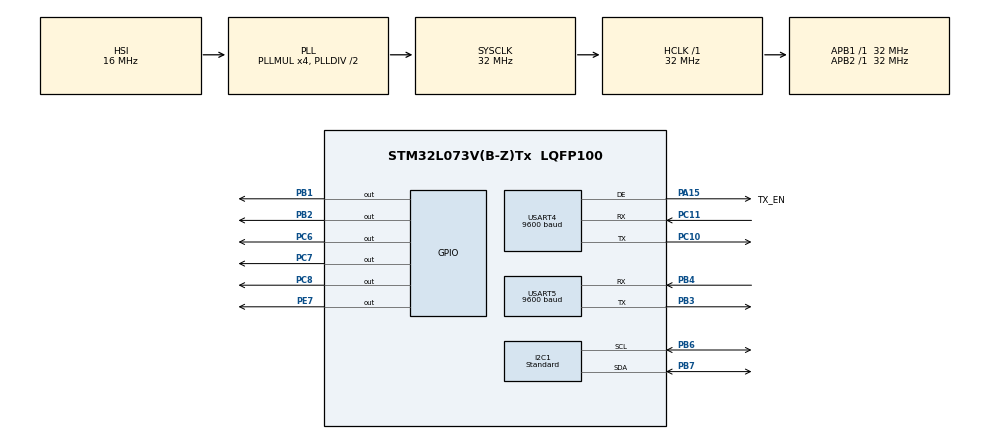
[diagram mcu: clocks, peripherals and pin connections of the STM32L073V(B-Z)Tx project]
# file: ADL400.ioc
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I2C1.Analog_Filter=I2C_ANALOGFILTER_ENABLE
I2C1.I2C_Speed_Mode=I2C_Standard
I2C1.Timing=0x00707CBB
Mcu.Family=STM32L0
Mcu.Name=STM32L073V(B-Z)Tx
Mcu.Package=LQFP100
NVIC.USART4_5_IRQn=true\:0\:0\:false\:false\:true\:true\:true\:true
PA13.Mode=Serial_Wire
PA13.Signal=SYS_SWDIO
PA14.Mode=Serial_Wire
PA14.Signal=SYS_SWCLK
PA15.GPIO_Label=TX_EN
PA15.Mode=Hardware Flow Control (RS485)
PA15.Signal=USART4_DE
PB1.Signal=GPIO_Output
PB2.Signal=GPIO_Output
PB3.Mode=Asynchronous
PB3.Signal=USART5_TX
PB4.Mode=Asynchronous
PB4.Signal=USART5_RX
PB6.Mode=I2C
PB6.Signal=I2C1_SCL
PB7.Mode=I2C
PB7.Signal=I2C1_SDA
PC10.Mode=Asynchronous
PC10.Signal=USART4_TX
PC11.Mode=Asynchronous
PC11.Signal=USART4_RX
PC6.Signal=GPIO_Output
PC7.Signal=GPIO_Output
PC8.Signal=GPIO_Output
PE7.Signal=GPIO_Output
PH0-OSC_IN.Mode=HSE-External-Oscillator
PH0-OSC_IN.Signal=RCC_OSC_IN
PH1-OSC_OUT.Mode=HSE-External-Oscillator
PH1-OSC_OUT.Signal=RCC_OSC_OUT
ProjectManager.HeapSize=0x200
ProjectManager.StackSize=0x400
ProjectManager.TargetToolchain=STM32CubeIDE
RCC.AHBFreq_Value=32000000
RCC.APB1Freq_Value=32000000
RCC.APB1TimFreq_Value=32000000
RCC.APB2Freq_Value=32000000
RCC.APB2TimFreq_Value=32000000
RCC.HCLKFreq_Value=32000000
RCC.HSE_VALUE=8000000
RCC.HSI16_VALUE=16000000
RCC.HSI48_VALUE=48000000
RCC.HSI_VALUE=16000000
RCC.LSE_VALUE=32768
RCC.MSI_VALUE=2097000
RCC.PLLMUL=RCC_PLLMUL_4
RCC.SYSCLKFreq_VALUE=32000000
RCC.SYSCLKSource=RCC_SYSCLKSOURCE_PLLCLK
RCC.VCOOutputFreq_Value=64000000
USART4.BaudRate=9600
USART4.VirtualMode-Asynchronous=VM_ASYNC
USART4.VirtualMode-Hardware\ Flow\ Control\ (RS485)=VM_ASYNC
USART5.BaudRate=9600
USART5.VirtualMode-Asynchronous=VM_ASYNC
board=custom

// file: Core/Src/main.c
/* USER CODE BEGIN Header */
/**
  ******************************************************************************
  * @file           : main.c
  * @brief          : Main program body
  ******************************************************************************
  * @attention
  *
  * Copyright (c) 2023 STMicroelectronics.
  * All rights reserved.
  *
  * This software is licensed under terms that can be found in the LICENSE file
  * in the root directory of this software component.
  * If no LICENSE file comes with this software, it is provided AS-IS.
  *
  ******************************************************************************
  */
/* USER CODE END Header */
#include "I2C_LCD.h"
#include "main.h"

/* USER CODE BEGIN Includes */
#include<stdio.h>
#include "modbus_crc.h"
#include<string.h>
#define SLAVE_ADDRESS_LCD 0x39
/* USER CODE END Includes */

I2C_HandleTypeDef hi2c1;

UART_HandleTypeDef huart4;
UART_HandleTypeDef huart5;

/* USER CODE BEGIN PV */
int _write(int file, char *ptr, int len)
{
	HAL_UART_Transmit(&huart5, (uint8_t *)ptr, len, HAL_MAX_DELAY);
	return len;
}
/* USER CODE END PV */

void SystemClock_Config(void);
static void MX_GPIO_Init(void);
static void MX_USART4_UART_Init(void);
static void MX_USART5_UART_Init(void);
static void MX_I2C1_Init(void);

/* USER CODE BEGIN 0 */

uint8_t RxData[64];
uint8_t TxData[8];
uint16_t Data[16];
char buffer[40];

void sendData (uint8_t *data)
{
	HAL_GPIO_WritePin(TX_EN_GPIO_Port, TX_EN_Pin, GPIO_PIN_SET);  // enable the transmission
	HAL_UART_Transmit(&huart4, data, 8, 1000);
	HAL_GPIO_WritePin(TX_EN_GPIO_Port,TX_EN_Pin , GPIO_PIN_RESET);  // stop the transmission

}

void HAL_UARTEx_RxEventCallback(UART_HandleTypeDef *huart, uint16_t Size)
{
	Data[0] = RxData[3]<<8 | RxData[4];
	Data[1] = RxData[5]<<8 | RxData[6];
	Data[2] = RxData[7]<<8 | RxData[8];
	Data[3] = RxData[9]<<8 | RxData[10];
	Data[4] = RxData[11]<<8 | RxData[12];
	Data[5] = RxData[13]<<8 | RxData[14];
	Data[6] = RxData[15]<<8 | RxData[16];
	Data[7] = RxData[17]<<8 | RxData[18];
	Data[8] = RxData[19]<<8 | RxData[20];
	Data[9] = RxData[21]<<8 | RxData[22];
	Data[10] = RxData[23]<<8 | RxData[24];
	Data[11] = RxData[25]<<8 | RxData[26];
	Data[12] = RxData[27]<<8 | RxData[28];
	Data[13] = RxData[29]<<8 | RxData[30];
	Data[14] = RxData[31]<<8 | RxData[32];
	Data[15] = RxData[33]<<8 | RxData[34];
//	Data[16] = RxData[35]<<8 | RxData[36];
	HAL_GPIO_WritePin(GPIOC, GPIO_PIN_7, SET);

}

/* USER CODE END 0 */

int main(void)
{

  /* MCU Configuration--------------------------------------------------------*/

  /* Reset of all peripherals, Initializes the Flash interface and the Systick. */
  HAL_Init();

  /* Configure the system clock */
  SystemClock_Config();

  /* Initialize all configured peripherals */
  MX_GPIO_Init();
  MX_USART4_UART_Init();
  MX_USART5_UART_Init();
  MX_I2C1_Init();
  /* USER CODE BEGIN 2 */

  HAL_UARTEx_ReceiveToIdle_IT(&huart4, RxData, 32);

  TxData[0] = 0x01;  // slave address
  TxData[1] = 0x03;  // Function code for Read Holding Registers
//  TxData[1] = 0x04;  // Function code for Read Input Registers

  /*
   * The function code 0x03 means we are reading Holding Registers
   * The Register address ranges from 40001 - 50000
   * The register address we input can range from 0-9999 (0x00-0x270F)
   * Here 0 corresponds to the Address 40001 and 9999 corresponds to 50000
   * Although we can only read 125 registers sequentially at once
   */
  TxData[2] = 0x00;  //00
  TxData[3] = 0x61; // voltage current and power values done
  //The Register address will be 00000000 00000100 = 4 + 40001 = 40005

//  TxData[2] = 0;
//  TxData[3] = 0x01;
  //The Register address will be 00000000 00000001 = 1 +30001 = 30002

  TxData[4] = 0x00;
  TxData[5] = 0x0A; //meter will start fetching data from 0061H address to total 1f consecutive data from the next addresses.
  // no of registers to read will be 00000000 00000101 = 5 Registers = 10 Bytes

  uint16_t crc = crc16(TxData, 6);
  TxData[6] = crc&0xFF;   // CRC LOW
  TxData[7] = (crc>>8)&0xFF;  // CRC HIGH

  /* USER CODE END 2 */

  /* Infinite loop */
  /* USER CODE BEGIN WHILE */
  while (1)
  {

	sendData(TxData);
	HAL_UARTEx_ReceiveToIdle_IT(&huart4, RxData, 32);

	printf("***** Voltage Values *****\n");
	uint16_t voltage1 = Data[0];  // for frequency 75 to 9 more data
	int Value1 = (int)voltage1;   // Convert hexadecimal to integer
	float floatValue1 = Value1 / 10.0;  // Divide by 100 to get float value
//	sprintf(buffer, "R_Phase Voltage: %.2f\r\n", floatValue1);
	sprintf(buffer, "R_Voltage: %.2f\r\n", floatValue1);
	HAL_UART_Transmit(&huart5, (uint8_t *)buffer, strlen(buffer), 100);  // Send the string over UART
//	HAL_I2C_Master_Transmit(&hi2c1, 0x39<<1, (uint8_t *)buffer, strlen(buffer), 100);
	sprintf(buffer, "R_Voltage: %.2f", floatValue1);
	lcd_init();
	lcd_send_cmd(0x80|0x00);
	HAL_Delay(10);
	lcd_send_string(buffer);
	HAL_Delay(100);

	uint16_t voltage2 = Data[1];
	int Value2 = (int)voltage2;
	float floatValue2 = Value2 / 10.0;
//	sprintf(buffer, "Y_Phase Voltage: %.2f\r\n", floatValue2);
	sprintf(buffer, "Y_Voltage: %.2f\r\n", floatValue2);
	HAL_UART_Transmit(&huart5, (uint8_t *)buffer, strlen(buffer), 100);
//	HAL_I2C_Master_Transmit(&hi2c1, 0x39<<1, (uint8_t *)buffer, strlen(buffer), 100);
	sprintf(buffer, "Y_Voltage: %.2f", floatValue2);
	lcd_send_cmd(0x80|0x40);
	HAL_Delay(10);
	lcd_send_string(buffer);
	HAL_Delay(100);

	uint16_t voltage3 = Data[2];
	int Value3 = (int)voltage3;
	float floatValue3 = Value3 / 10.0;
//	sprintf(buffer, "B_Phase Voltage: %.2f\r\n", floatValue3);
	sprintf(buffer, "B_Voltage: %.2f\r\n", floatValue3);
	HAL_UART_Transmit(&huart5, (uint8_t *)buffer, strlen(buffer), 100);
//	HAL_I2C_Master_Transmit(&hi2c1, 0x39<<1, (uint8_t *)buffer, strlen(buffer), 100);
	sprintf(buffer, "B_Voltage: %.2f", floatValue3);
	lcd_send_cmd(0x80|0x14);
	HAL_Delay(10);
	lcd_send_string(buffer);
	HAL_Delay(100);

	printf("\n");
	printf("***** Current Values *****\n");

	uint16_t current_1 = Data[3];
	int Value4 = (int)current_1;
	float floatValue4 = Value4 / 100.0;
//	sprintf(buffer, "R_Phase Current: %.2f\r\n", floatValue4);
	sprintf(buffer, "R_Current: %.2f\r\n", floatValue4);
	HAL_UART_Transmit(&huart5, (uint8_t *)buffer, strlen(buffer), 100);
//	HAL_I2C_Master_Transmit(&hi2c1, 0x39<<1, (uint8_t *)buffer, strlen(buffer), 100);
	sprintf(buffer, "R_Current: %.2f", floatValue4);
	lcd_send_cmd(0x80|0x54);
	HAL_Delay(10);
	lcd_send_string(buffer);
	HAL_Delay(100);

	uint16_t current_2 = Data[4];
	int Value5 = (int)current_2;
	float floatValue5 = Value5 / 100.0;
	sprintf(buffer, "Y_Phase Current: %.2f\r\n", floatValue5);
	HAL_UART_Transmit(&huart5, (uint8_t *)buffer, strlen(buffer), 100);
//	HAL_I2C_Master_Transmit(&hi2c1, 0x39<<1, (uint8_t *)buffer, strlen(buffer), 100);

	uint16_t current_3 = Data[5];
	int Value6 = (int)current_3;
	float floatValue6 = Value6 / 100.0;
	sprintf(buffer, "B_Phase Current: %.2f\r\n", floatValue6);
	HAL_UART_Transmit(&huart5, (uint8_t *)buffer, strlen(buffer), 100);
//	HAL_I2C_Master_Transmit(&hi2c1, 0x39<<1, (uint8_t *)buffer, strlen(buffer), 100);

	printf("\n");
	printf("***** Power Values *****\n");

	uint16_t Active_power_1 = Data[6];
	int Value7 = (int)Active_power_1;
	float floatValue7 = Value7 / 1000.0;
	sprintf(buffer, "R_Phase Power: %.2f\r\n", floatValue7);
	HAL_UART_Transmit(&huart5, (uint8_t *)buffer, strlen(buffer), 100);
//	HAL_I2C_Master_Transmit(&hi2c1, 0x39<<1, (uint8_t *)buffer, strlen(buffer), 100);

	uint16_t Active_power_2 = Data[7];
	int Value8 = (int)Active_power_2;
	float floatValue8 = Value8 / 1000.0;
	sprintf(buffer, "Y_Phase Power: %.2f\r\n", floatValue8);
	HAL_UART_Transmit(&huart5, (uint8_t *)buffer, strlen(buffer), 100);
//	HAL_I2C_Master_Transmit(&hi2c1, 0x39<<1, (uint8_t *)buffer, strlen(buffer), 100);

	uint16_t Active_power_3 = Data[8];
	int Value9 = (int)Active_power_3;
	float floatValue9 = Value9 / 1000.0;
	sprintf(buffer, "B_Phase Power: %.2f\r\n", floatValue9);
	HAL_UART_Transmit(&huart5, (uint8_t *)buffer, strlen(buffer), 100);
//	HAL_I2C_Master_Transmit(&hi2c1, 0x39<<1, (uint8_t *)buffer, strlen(buffer), 100);

	printf("\n");
	printf("***** Total Power Values *****\n");

	uint16_t Total_power = Data[9];
	int Value10 = (int)Total_power;
	float floatValue10 = Value10 / 1000.0;
	sprintf(buffer, "Total_Active Power: %.2f\r\n", floatValue10);
	HAL_UART_Transmit(&huart5, (uint8_t *)buffer, strlen(buffer), 100);
//	HAL_I2C_Master_Transmit(&hi2c1, 0x39<<1, (uint8_t *)buffer, strlen(buffer), 100);

	printf("\n\n\n");

//	uint16_t frequency_h = Data[2];  // for frequency 75 to 9 more data
//	int Value = (int)frequency_h;   // Convert hexadecimal to integer
//	float floatValue = Value / 100.0;  // Divide by 100 to get float value
//	sprintf(buffer, "Frequency Value: %.2f\r\n", floatValue);
//	HAL_UART_Transmit(&huart5, (uint8_t *)buffer, strlen(buffer), 100);  // Send the string over UART
//
//	uint16_t LR_LY_Voltage = Data[3];
//	int Value1 = (int)LR_LY_Voltage;
//	float floatValue1 = Value1 / 10.0;
//	sprintf(buffer, "LR-LY_Voltage Value: %.2f\r\n", floatValue1);
//	HAL_UART_Transmit(&huart5, (uint8_t *)buffer, strlen(buffer), 100);
//
//	uint16_t LY_LB_Voltage = Data[4];
//	int Value2 = (int)LY_LB_Voltage;
//	float floatValue2 = Value2 / 10.0;
//	sprintf(buffer, "LY-LB_Voltage Value: %.2f\r\n", floatValue2);
//	HAL_UART_Transmit(&huart5, (uint8_t *)buffer, strlen(buffer), 100);
//
//	uint16_t LB_LR_Voltage = Data[5];
//	int Value3 = (int)LB_LR_Voltage;
//	float floatValue3 = Value3 / 10.0;
//	sprintf(buffer, "LB-LR_Voltage Value: %.2f\r\n", floatValue3);
//	HAL_UART_Transmit(&huart5, (uint8_t *)buffer, strlen(buffer), 100);
//	printf("\n");

	HAL_Delay(200); // Add a delay for demonstration purposes
	lcd_clear();

    /* USER CODE END WHILE */

  }
}

void SystemClock_Config(void)
{
  RCC_OscInitTypeDef RCC_OscInitStruct = {0};
  RCC_ClkInitTypeDef RCC_ClkInitStruct = {0};
  RCC_PeriphCLKInitTypeDef PeriphClkInit = {0};

  /** Configure the main internal regulator output voltage
  */
  __HAL_PWR_VOLTAGESCALING_CONFIG(PWR_REGULATOR_VOLTAGE_SCALE1);

  /** Initializes the RCC Oscillators according to the specified parameters
  * in the RCC_OscInitTypeDef structure.
  */
  RCC_OscInitStruct.OscillatorType = RCC_OSCILLATORTYPE_HSI;
  RCC_OscInitStruct.HSIState = RCC_HSI_ON;
  RCC_OscInitStruct.HSICalibrationValue = RCC_HSICALIBRATION_DEFAULT;
  RCC_OscInitStruct.PLL.PLLState = RCC_PLL_ON;
  RCC_OscInitStruct.PLL.PLLSource = RCC_PLLSOURCE_HSI;
  RCC_OscInitStruct.PLL.PLLMUL = RCC_PLLMUL_4;
  RCC_OscInitStruct.PLL.PLLDIV = RCC_PLLDIV_2;
  if (HAL_RCC_OscConfig(&RCC_OscInitStruct) != HAL_OK)
  {
    Error_Handler();
  }

  /** Initializes the CPU, AHB and APB buses clocks
  */
  RCC_ClkInitStruct.ClockType = RCC_CLOCKTYPE_HCLK|RCC_CLOCKTYPE_SYSCLK
                              |RCC_CLOCKTYPE_PCLK1|RCC_CLOCKTYPE_PCLK2;
  RCC_ClkInitStruct.SYSCLKSource = RCC_SYSCLKSOURCE_PLLCLK;
  RCC_ClkInitStruct.AHBCLKDivider = RCC_SYSCLK_DIV1;
  RCC_ClkInitStruct.APB1CLKDivider = RCC_HCLK_DIV1;
  RCC_ClkInitStruct.APB2CLKDivider = RCC_HCLK_DIV1;

  if (HAL_RCC_ClockConfig(&RCC_ClkInitStruct, FLASH_LATENCY_1) != HAL_OK)
  {
    Error_Handler();
  }
  PeriphClkInit.PeriphClockSelection = RCC_PERIPHCLK_I2C1;
  PeriphClkInit.I2c1ClockSelection = RCC_I2C1CLKSOURCE_PCLK1;
  if (HAL_RCCEx_PeriphCLKConfig(&PeriphClkInit) != HAL_OK)
  {
    Error_Handler();
  }
}

static void MX_I2C1_Init(void)
{

  hi2c1.Instance = I2C1;
  hi2c1.Init.Timing = 0x00707CBB;
  hi2c1.Init.OwnAddress1 = 0;
  hi2c1.Init.AddressingMode = I2C_ADDRESSINGMODE_7BIT;
  hi2c1.Init.DualAddressMode = I2C_DUALADDRESS_DISABLE;
  hi2c1.Init.OwnAddress2 = 0;
  hi2c1.Init.OwnAddress2Masks = I2C_OA2_NOMASK;
  hi2c1.Init.GeneralCallMode = I2C_GENERALCALL_DISABLE;
  hi2c1.Init.NoStretchMode = I2C_NOSTRETCH_DISABLE;
  if (HAL_I2C_Init(&hi2c1) != HAL_OK)
  {
    Error_Handler();
  }

  /** Configure Analogue filter
  */
  if (HAL_I2CEx_ConfigAnalogFilter(&hi2c1, I2C_ANALOGFILTER_ENABLE) != HAL_OK)
  {
    Error_Handler();
  }

  /** Configure Digital filter
  */
  if (HAL_I2CEx_ConfigDigitalFilter(&hi2c1, 0) != HAL_OK)
  {
    Error_Handler();
  }

}

static void MX_USART4_UART_Init(void)
{

  huart4.Instance = USART4;
  huart4.Init.BaudRate = 9600;
  huart4.Init.WordLength = UART_WORDLENGTH_8B;
  huart4.Init.StopBits = UART_STOPBITS_1;
  huart4.Init.Parity = UART_PARITY_NONE;
  huart4.Init.Mode = UART_MODE_TX_RX;
  huart4.Init.HwFlowCtl = UART_HWCONTROL_NONE;
  huart4.Init.OverSampling = UART_OVERSAMPLING_16;
  huart4.Init.OneBitSampling = UART_ONE_BIT_SAMPLE_DISABLE;
  huart4.AdvancedInit.AdvFeatureInit = UART_ADVFEATURE_NO_INIT;
  if (HAL_RS485Ex_Init(&huart4, UART_DE_POLARITY_HIGH, 0, 0) != HAL_OK)
  {
    Error_Handler();
  }

}

static void MX_USART5_UART_Init(void)
{

  huart5.Instance = USART5;
  huart5.Init.BaudRate = 9600;
  huart5.Init.WordLength = UART_WORDLENGTH_8B;
  huart5.Init.StopBits = UART_STOPBITS_1;
  huart5.Init.Parity = UART_PARITY_NONE;
  huart5.Init.Mode = UART_MODE_TX_RX;
  huart5.Init.HwFlowCtl = UART_HWCONTROL_NONE;
  huart5.Init.OverSampling = UART_OVERSAMPLING_16;
  huart5.Init.OneBitSampling = UART_ONE_BIT_SAMPLE_DISABLE;
  huart5.AdvancedInit.AdvFeatureInit = UART_ADVFEATURE_NO_INIT;
  if (HAL_UART_Init(&huart5) != HAL_OK)
  {
    Error_Handler();
  }

}

static void MX_GPIO_Init(void)
{
  GPIO_InitTypeDef GPIO_InitStruct = {0};

  /* GPIO Ports Clock Enable */
  __HAL_RCC_GPIOH_CLK_ENABLE();
  __HAL_RCC_GPIOB_CLK_ENABLE();
  __HAL_RCC_GPIOE_CLK_ENABLE();
  __HAL_RCC_GPIOC_CLK_ENABLE();
  __HAL_RCC_GPIOA_CLK_ENABLE();

  /*Configure GPIO pin Output Level */
  HAL_GPIO_WritePin(GPIOB, GPIO_PIN_1|GPIO_PIN_2, GPIO_PIN_RESET);

  /*Configure GPIO pin Output Level */
  HAL_GPIO_WritePin(GPIOE, GPIO_PIN_7, GPIO_PIN_RESET);

  /*Configure GPIO pin Output Level */
  HAL_GPIO_WritePin(GPIOC, GPIO_PIN_6|GPIO_PIN_7|GPIO_PIN_8, GPIO_PIN_RESET);

  /*Configure GPIO pins : PB1 PB2 */
  GPIO_InitStruct.Pin = GPIO_PIN_1|GPIO_PIN_2;
  GPIO_InitStruct.Mode = GPIO_MODE_OUTPUT_PP;
  GPIO_InitStruct.Pull = GPIO_NOPULL;
  GPIO_InitStruct.Speed = GPIO_SPEED_FREQ_LOW;
  HAL_GPIO_Init(GPIOB, &GPIO_InitStruct);

  /*Configure GPIO pin : PE7 */
  GPIO_InitStruct.Pin = GPIO_PIN_7;
  GPIO_InitStruct.Mode = GPIO_MODE_OUTPUT_PP;
  GPIO_InitStruct.Pull = GPIO_NOPULL;
  GPIO_InitStruct.Speed = GPIO_SPEED_FREQ_LOW;
  HAL_GPIO_Init(GPIOE, &GPIO_InitStruct);

  /*Configure GPIO pins : PC6 PC7 PC8 */
  GPIO_InitStruct.Pin = GPIO_PIN_6|GPIO_PIN_7|GPIO_PIN_8;
  GPIO_InitStruct.Mode = GPIO_MODE_OUTPUT_PP;
  GPIO_InitStruct.Pull = GPIO_NOPULL;
  GPIO_InitStruct.Speed = GPIO_SPEED_FREQ_LOW;
  HAL_GPIO_Init(GPIOC, &GPIO_InitStruct);

}

void Error_Handler(void)
{
  __disable_irq();
  while (1)
  {
  }
}
